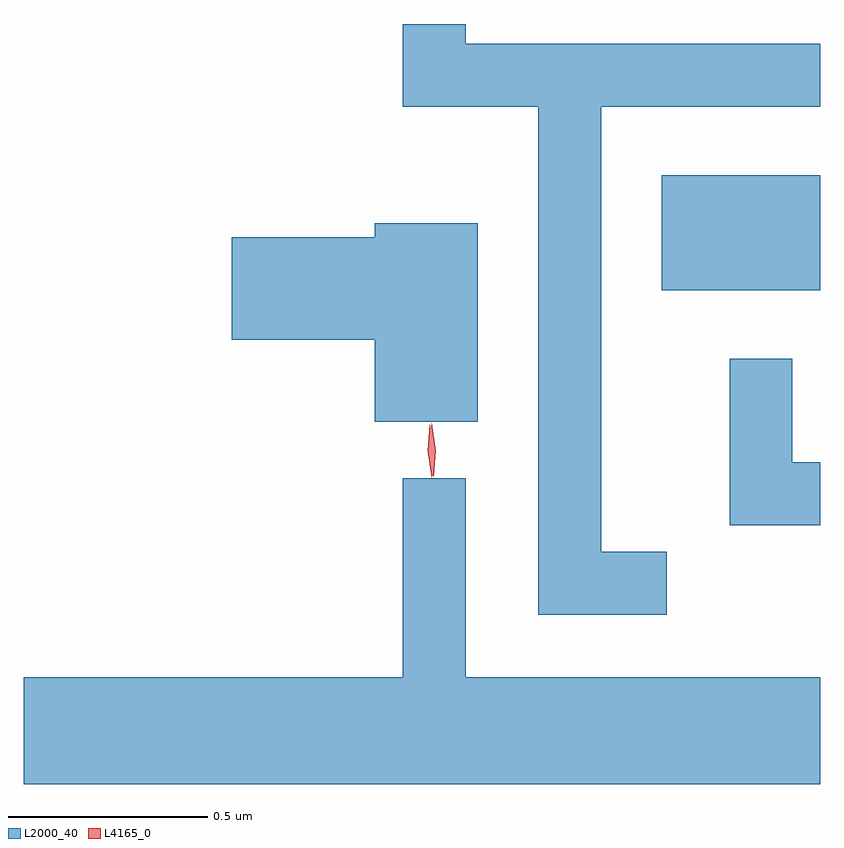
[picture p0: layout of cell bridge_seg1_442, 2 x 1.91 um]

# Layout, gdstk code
import gdstk
lib = gdstk.Library(unit=1e-6, precision=1e-09)
def R(c, l, rs):  # rectangles x0, y0, x1, y1
    for r in rs: c.add(gdstk.rectangle(r[:2], r[2:], *l))
def P(c, l, *ps):  # polygons
    for p in ps: c.add(gdstk.Polygon(p, *l))
L2000_40 = (2000, 40)
L4165_0 = (4165, 0)

bridge_seg1_442 = lib.new_cell('bridge_seg1_442')
R(bridge_seg1_442, L2000_40, [(330.706,938.556,331.104,938.844)])
P(bridge_seg1_442, L2000_40, [(330.718,937.899),(330.554,937.899),(330.554,939.016),(331.104,939.016),(331.104,939.174),(330.214,939.174),(330.214,939.224),(330.056,939.224),(330.056,939.016),(330.396,939.016),(330.396,937.741),(330.718,937.741)],
  [(330.244,938.724),(329.986,938.724),(329.986,938.689),(329.626,938.689),(329.626,938.431),(329.986,938.431),(329.986,938.226),(330.244,938.226)],
  [(331.104,938.124),(331.034,938.124),(331.034,938.383),(330.876,938.383),(330.876,937.966),(331.104,937.966)],
  [(331.104,937.584),(330.214,937.584),(330.214,938.083),(330.056,938.083),(330.056,937.584),(329.104,937.584),(329.104,937.316),(331.104,937.316)])
P(bridge_seg1_442, L4165_0, [(330.133,938.088),(330.132,938.089),(330.118,938.153),(330.123,938.218),(330.123,938.219),(330.124,938.218),(330.138,938.154),(330.133,938.089)],
  [(330.128,938.085),(330.119,938.153),(330.128,938.222),(330.129,938.222),(330.129,938.222),(330.139,938.153),(330.129,938.085),(330.129,938.085)])

lib.write_gds('bridge_seg1_442.gds')
